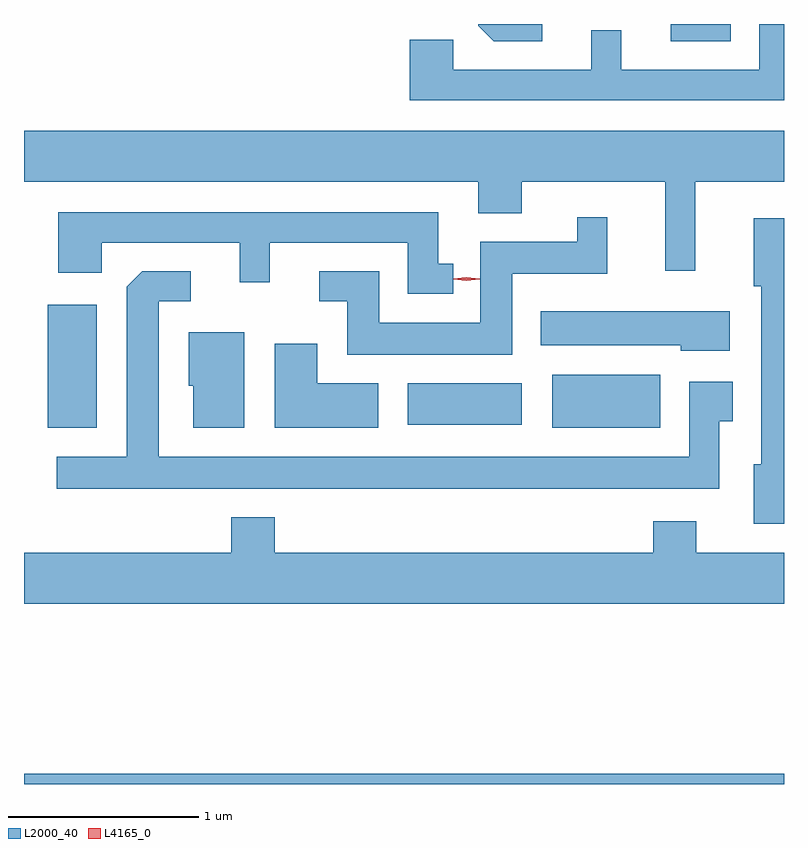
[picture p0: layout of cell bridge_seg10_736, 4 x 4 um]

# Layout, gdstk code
import gdstk
lib = gdstk.Library(unit=1e-6, precision=1e-09)
def R(c, l, rs):  # rectangles x0, y0, x1, y1
    for r in rs: c.add(gdstk.rectangle(r[:2], r[2:], *l))
def P(c, l, *ps):  # polygons
    for p in ps: c.add(gdstk.Polygon(p, *l))
L2000_40 = (2000, 40)
L4165_0 = (4165, 0)

bridge_seg10_736 = lib.new_cell('bridge_seg10_736')
R(bridge_seg10_736, L2000_40, [(586.99,2190.666,590.99,2190.719), (587.116,2192.541,587.374,2193.189), (589.771,2192.541,590.339,2192.819), (589.011,2192.556,589.609,2192.774), (590.393,2194.576,590.709,2194.666)])
P(bridge_seg10_736, L2000_40, [(590.99,2194.666),(590.861,2194.666),(590.861,2194.424),(590.134,2194.424),(590.134,2194.633),(589.976,2194.633),(589.976,2194.424),(589.249,2194.424),(589.249,2194.584),(589.021,2194.584),(589.021,2194.266),(590.99,2194.266)],
  [(589.718,2194.666),(589.381,2194.666),(589.381,2194.657),(589.462,2194.576),(589.718,2194.576)],
  [(590.524,2193.836),(590.99,2193.836),(590.99,2194.104),(586.99,2194.104),(586.99,2193.836),(589.381,2193.836),(589.381,2193.671),(589.609,2193.671),(589.609,2193.836),(590.366,2193.836),(590.366,2193.368),(590.524,2193.368)],
  [(589.248,2193.404),(589.169,2193.404),(589.169,2193.674),(587.171,2193.674),(587.171,2193.356),(587.399,2193.356),(587.399,2193.516),(588.126,2193.516),(588.126,2193.308),(588.284,2193.308),(588.284,2193.516),(589.011,2193.516),(589.011,2193.246),(589.248,2193.246)],
  [(589.559,2193.351),(590.059,2193.351),(590.059,2193.648),(589.901,2193.648),(589.901,2193.519),(589.391,2193.519),(589.391,2193.094),(588.859,2193.094),(588.859,2193.364),(588.543,2193.364),(588.543,2193.206),(588.691,2193.206),(588.691,2192.926),(589.559,2192.926)],
  [(590.99,2193.644),(590.831,2193.644),(590.831,2193.286),(590.871,2193.286),(590.871,2192.349),(590.831,2192.349),(590.831,2192.036),(590.99,2192.036)],
  [(590.649,2192.576),(590.719,2192.576),(590.719,2192.784),(590.491,2192.784),(590.491,2192.389),(587.699,2192.389),(587.699,2193.206),(587.868,2193.206),(587.868,2193.364),(587.612,2193.364),(587.531,2193.284),(587.531,2192.389),(587.163,2192.389),(587.163,2192.221),(590.649,2192.221)],
  [(590.704,2193.154),(589.711,2193.154),(589.711,2192.976),(590.446,2192.976),(590.446,2192.946),(590.704,2192.946)],
  [(588.149,2193.044),(587.856,2193.044),(587.856,2192.761),(587.881,2192.761),(587.881,2192.541),(588.149,2192.541)],
  [(588.854,2192.774),(588.534,2192.774),(588.534,2192.984),(588.311,2192.984),(588.311,2192.541),(588.854,2192.541)],
  [(590.99,2191.884),(590.529,2191.884),(590.529,2192.049),(590.301,2192.049),(590.301,2191.884),(588.309,2191.884),(588.309,2192.069),(588.081,2192.069),(588.081,2191.884),(586.99,2191.884),(586.99,2191.616),(590.99,2191.616)])
P(bridge_seg10_736, L4165_0, [(589.318,2193.314),(589.249,2193.323),(589.249,2193.324),(589.249,2193.324),(589.318,2193.334),(589.388,2193.324),(589.388,2193.324),(589.388,2193.323)])

lib.write_gds('bridge_seg10_736.gds')
